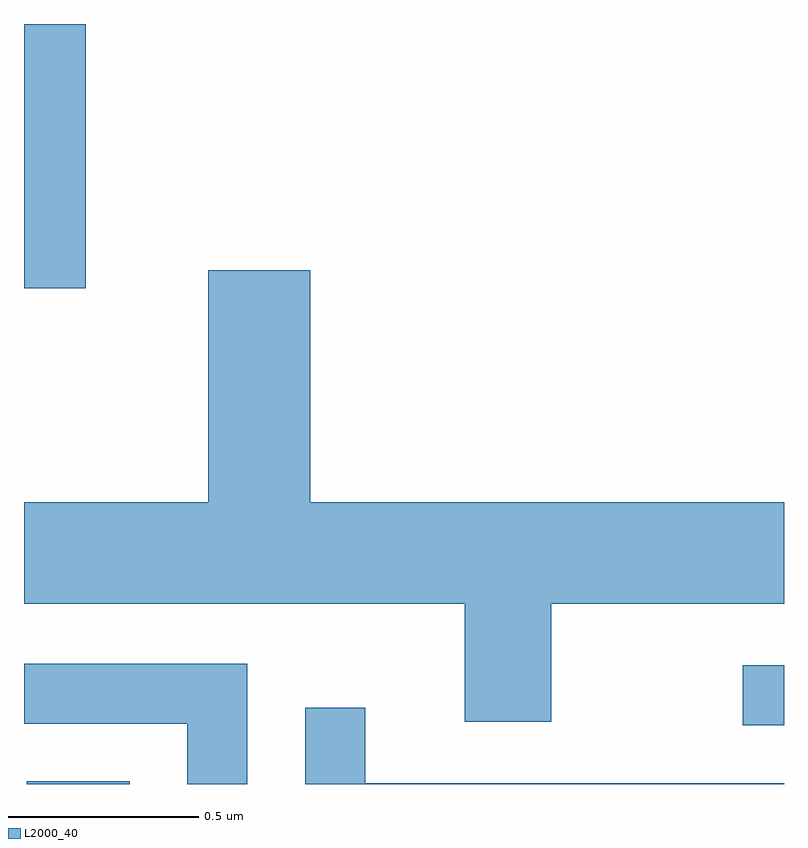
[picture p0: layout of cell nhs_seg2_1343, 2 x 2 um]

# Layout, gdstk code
import gdstk
lib = gdstk.Library(unit=1e-6, precision=1e-09)
def R(c, l, rs):  # rectangles x0, y0, x1, y1
    for r in rs: c.add(gdstk.rectangle(r[:2], r[2:], *l))
def P(c, l, *ps):  # polygons
    for p in ps: c.add(gdstk.Polygon(p, *l))
L2000_40 = (2000, 40)

nhs_seg2_1343 = lib.new_cell('nhs_seg2_1343')
R(nhs_seg2_1343, L2000_40, [(194.618,1087.802,194.889,1087.809), (196.503,1087.956,196.611,1088.114), (194.611,1089.106,194.774,1089.802)])
P(nhs_seg2_1343, L2000_40, [(195.999,1088.276),(196.611,1088.276),(196.611,1088.544),(195.364,1088.544),(195.364,1089.154),(195.096,1089.154),(195.096,1088.544),(194.611,1088.544),(194.611,1088.276),(195.771,1088.276),(195.771,1087.966),(195.999,1087.966)],
  [(195.199,1088.119),(194.611,1088.119),(194.611,1087.961),(195.041,1087.961),(195.041,1087.802),(195.199,1087.802)],
  [(196.611,1087.804),(195.509,1087.804),(195.509,1088.003),(195.351,1088.003),(195.351,1087.802),(196.611,1087.802)])

lib.write_gds('nhs_seg2_1343.gds')
